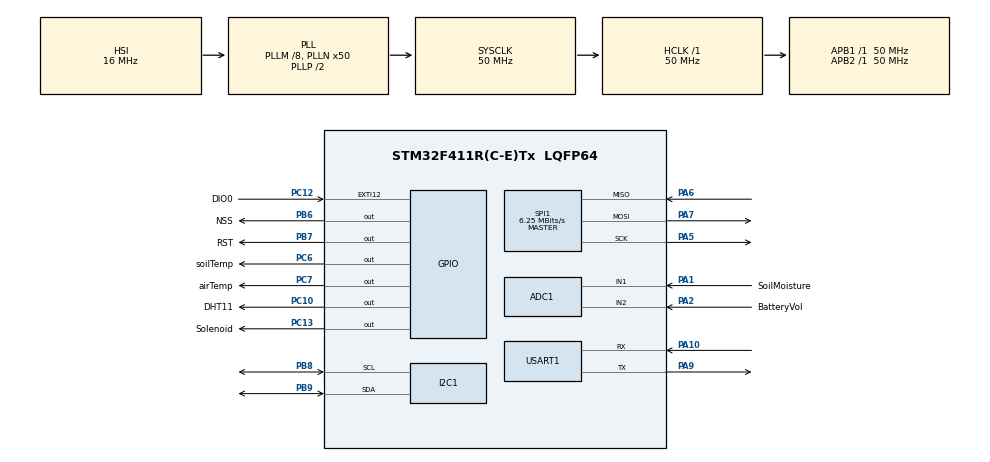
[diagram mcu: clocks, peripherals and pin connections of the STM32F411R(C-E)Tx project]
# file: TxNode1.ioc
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ADC1.Channel-0\#ChannelRegularConversion=ADC_CHANNEL_1
ADC1.Channel-3\#ChannelRegularConversion=ADC_CHANNEL_2
ADC1.ContinuousConvMode=ENABLE
ADC1.NbrOfConversion=2
ADC1.NbrOfConversionFlag=1
ADC1.Rank-3\#ChannelRegularConversion=2
ADC1.SamplingTime-3\#ChannelRegularConversion=ADC_SAMPLETIME_3CYCLES
ADC1.ScanConvMode=ENABLE
ADC1.master=1
FREERTOS.Tasks01=defaultTask,0,128,StartDefaultTask,Default,NULL,Dynamic,NULL,NULL
FREERTOS.configUSE_NEWLIB_REENTRANT=1
Mcu.Family=STM32F4
Mcu.Name=STM32F411R(C-E)Tx
Mcu.Package=LQFP64
NVIC.PriorityGroup=NVIC_PRIORITYGROUP_4
NVIC.TIM5_IRQn=true\:15\:0\:false\:false\:true\:false\:false\:true\:true
NVIC.TimeBase=TIM5_IRQn
NVIC.TimeBaseIP=TIM5
PA1.GPIO_Label=SoilMoisture
PA1.Signal=ADCx_IN1
PA10.Mode=Asynchronous
PA10.Signal=USART1_RX
PA13.Mode=Serial_Wire
PA13.Signal=SYS_JTMS-SWDIO
PA14.Mode=Serial_Wire
PA14.Signal=SYS_JTCK-SWCLK
PA2.GPIO_Label=BatteryVol
PA2.Signal=ADCx_IN2
PA5.Mode=Full_Duplex_Master
PA5.Signal=SPI1_SCK
PA6.Mode=Full_Duplex_Master
PA6.Signal=SPI1_MISO
PA7.Mode=Full_Duplex_Master
PA7.Signal=SPI1_MOSI
PA9.Mode=Asynchronous
PA9.Signal=USART1_TX
PB6.GPIO_Label=NSS
PB6.PinState=GPIO_PIN_SET
PB6.Signal=GPIO_Output
PB7.GPIO_Label=RST
PB7.PinState=GPIO_PIN_SET
PB7.Signal=GPIO_Output
PB8.Mode=I2C
PB8.Signal=I2C1_SCL
PB9.Mode=I2C
PB9.Signal=I2C1_SDA
PC10.GPIO_Label=DHT11
PC10.Signal=GPIO_Output
PC12.GPIO_Label=DIO0
PC12.Signal=GPXTI12
PC13-ANTI_TAMP.GPIO_Label=Solenoid
PC13-ANTI_TAMP.Signal=GPIO_Output
PC14-OSC32_IN.Mode=LSE-External-Oscillator
PC14-OSC32_IN.Signal=RCC_OSC32_IN
PC15-OSC32_OUT.Mode=LSE-External-Oscillator
PC15-OSC32_OUT.Signal=RCC_OSC32_OUT
PC6.GPIO_Label=soilTemp
PC6.Signal=GPIO_Output
PC7.GPIO_Label=airTemp
PC7.Signal=GPIO_Output
PH0\ -\ OSC_IN.Mode=HSE-External-Oscillator
PH0\ -\ OSC_IN.Signal=RCC_OSC_IN
PH1\ -\ OSC_OUT.Mode=HSE-External-Oscillator
PH1\ -\ OSC_OUT.Signal=RCC_OSC_OUT
ProjectManager.HeapSize=0x200
ProjectManager.StackSize=0x400
ProjectManager.TargetToolchain=STM32CubeIDE
RCC.48MHZClocksFreq_Value=25000000
RCC.AHBFreq_Value=50000000
RCC.APB1Freq_Value=50000000
RCC.APB1TimFreq_Value=50000000
RCC.APB2Freq_Value=50000000
RCC.APB2TimFreq_Value=50000000
RCC.CortexFreq_Value=50000000
RCC.HCLKFreq_Value=50000000
RCC.HSE_VALUE=25000000
RCC.HSI_VALUE=16000000
RCC.PLLM=8
RCC.PLLN=50
RCC.SYSCLKFreq_VALUE=50000000
RCC.SYSCLKSource=RCC_SYSCLKSOURCE_PLLCLK
RCC.VCOOutputFreq_Value=100000000
SH.ADCx_IN1.0=ADC1_IN1,IN1
SH.ADCx_IN2.0=ADC1_IN2,IN2
SPI1.BaudRatePrescaler=SPI_BAUDRATEPRESCALER_8
SPI1.CalculateBaudRate=6.25 MBits/s
SPI1.Direction=SPI_DIRECTION_2LINES
SPI1.Mode=SPI_MODE_MASTER
SPI1.VirtualType=VM_MASTER
TIM1.Period=0xffff-1
TIM1.Prescaler=50-1
USART1.VirtualMode=VM_ASYNC
VP_FREERTOS_VS_CMSIS_V1.Mode=CMSIS_V1
VP_SYS_VS_tim5.Mode=TIM5
VP_TIM1_VS_ClockSourceINT.Mode=Internal
board=custom

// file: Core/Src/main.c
/* USER CODE BEGIN Header */
/**
  ******************************************************************************
  * @file           : main.c
  * @brief          : Main program body
  ******************************************************************************
  * @attention
  *
  * Copyright (c) 2022 STMicroelectronics.
  * All rights reserved.
  *
  * This software is licensed under terms that can be found in the LICENSE file
  * in the root directory of this software component.
  * If no LICENSE file comes with this software, it is provided AS-IS.
  *
  ******************************************************************************
  */
/* USER CODE END Header */
#include "main.h"

/* USER CODE BEGIN Includes */
#include "farmTask.h"
#include "LoRa.h"
#include "liquidcrystal_i2c.h"

/* USER CODE END Includes */

ADC_HandleTypeDef hadc1;

I2C_HandleTypeDef hi2c1;

SPI_HandleTypeDef hspi1;

TIM_HandleTypeDef htim1;

UART_HandleTypeDef huart1;

/* USER CODE BEGIN PV */
/************************ SEMAPHORE & QUEUE HANDLER **************************************/
xQueueHandle sensorQHandler;

//SemaphoreHandle_t bin_sem;     // Waits for parameter to be read
//SemaphoreHandle_t mutex;       // Lock access to Serial resource
/************************ TASK HANDLER **************************************/
xTaskHandle loraTaskHandler;
xTaskHandle lcdTaskHandler;

xTaskHandle soilMoistTaskHandler;
xTaskHandle soilTempTaskHandler;
xTaskHandle humidityTaskHandler;
xTaskHandle airTempTaskHandler;
xTaskHandle batteryTaskHandler;

/* USER CODE END PV */

void SystemClock_Config(void);
static void MX_GPIO_Init(void);
static void MX_ADC1_Init(void);
static void MX_I2C1_Init(void);
static void MX_SPI1_Init(void);
static void MX_TIM1_Init(void);
static void MX_USART1_UART_Init(void);

/* USER CODE BEGIN 0 */

/********************** SELECT ADC CHANNELS ********************************************/
void selectADC1()
{
	 ADC_ChannelConfTypeDef sConfig = {0};
	/** Configure for the selected ADC regular channel its corresponding rank in the sequencer and its sample time.
	  */
	  sConfig.Channel = ADC_CHANNEL_1;
	  sConfig.Rank = 1;
	  sConfig.SamplingTime = ADC_SAMPLETIME_3CYCLES;
	  if (HAL_ADC_ConfigChannel(&hadc1, &sConfig) != HAL_OK)
	  {
	    Error_Handler();
	  }
}

void selectADC2()
{
	 ADC_ChannelConfTypeDef sConfig = {0};
	 /** Configure for the selected ADC regular channel its corresponding rank in the sequencer and its sample time.
	  */
	  sConfig.Channel = ADC_CHANNEL_2;
	  sConfig.Rank = 1;
	  sConfig.SamplingTime = ADC_SAMPLETIME_3CYCLES;
	  if (HAL_ADC_ConfigChannel(&hadc1, &sConfig) != HAL_OK)
	  {
	    Error_Handler();
	  }
}

/*********************** SELECT PINS FOR DS18B20 & DHT ************************************/

void Set_Pin_Output (GPIO_TypeDef *GPIOx, uint16_t GPIO_Pin)
{
	GPIO_InitTypeDef GPIO_InitStruct = {0};
	GPIO_InitStruct.Pin = GPIO_Pin;
	GPIO_InitStruct.Mode = GPIO_MODE_OUTPUT_PP;
	GPIO_InitStruct.Speed = GPIO_SPEED_FREQ_LOW;
	HAL_GPIO_Init(GPIOx, &GPIO_InitStruct);
}

void Set_Pin_Input (GPIO_TypeDef *GPIOx, uint16_t GPIO_Pin)
{
	GPIO_InitTypeDef GPIO_InitStruct = {0};
	GPIO_InitStruct.Pin = GPIO_Pin;
	GPIO_InitStruct.Mode = GPIO_MODE_INPUT;
	GPIO_InitStruct.Pull = GPIO_PULLUP;
	HAL_GPIO_Init(GPIOx, &GPIO_InitStruct);
}

/* USER CODE END 0 */

int main(void)
{

  /* MCU Configuration--------------------------------------------------------*/

  /* Reset of all peripherals, Initializes the Flash interface and the Systick. */
   HAL_Init();

  /* Configure the system clock */
  SystemClock_Config();

  /* Initialize all configured peripherals */
  MX_GPIO_Init();
  MX_ADC1_Init();
  MX_I2C1_Init();
  MX_SPI1_Init();
  MX_TIM1_Init();
  MX_USART1_UART_Init();

  /* USER CODE BEGIN 2 */
  lcd_Init(2);
  lcd_Clear();
  lcd_SetCursor(0,0);
  lcd_PrintStr("LCD Initializing...");

  HAL_Delay(700);

  /*********************** CREATE QUEUE *****************************************/

  // Create mutexes and semaphores before starting tasks
//    bin_sem = xSemaphoreCreateBinary();
//    mutex = xSemaphoreCreateMutex();

	#define QueueLength 5				// 5 Tasks

   sensorQHandler = xQueueCreate(QueueLength, sizeof(Sensor));

  /************************ CREATE TASKS ************************************************/

   xTaskCreate(soilMoist_Task,"soilMoist", 128, NULL, 7, &soilMoistTaskHandler);
   xTaskCreate(soilTemp_Task,"soilTemp", 128, NULL, 6, &soilTempTaskHandler);
   xTaskCreate(humidity_Task,"humidity", 128, NULL, 5, &humidityTaskHandler);
   xTaskCreate(airTemp_Task,"airTemp", 128, NULL, 4, &airTempTaskHandler);
   xTaskCreate(battery_Task,"battery", 128, NULL, 3, &batteryTaskHandler);

   xTaskCreate(lora_Task,"LORA", 128, NULL, 2, &loraTaskHandler);
   xTaskCreate(lcd_Task,"LCD", 128, NULL, 1, &lcdTaskHandler);

   vTaskStartScheduler();
  /* USER CODE END 2 */

   /* We should never get here as control is now taken by the scheduler */
  /* Infinite loop */
  while (1)
  {

  }
}

void SystemClock_Config(void)
{
  RCC_OscInitTypeDef RCC_OscInitStruct = {0};
  RCC_ClkInitTypeDef RCC_ClkInitStruct = {0};

  /** Configure the main internal regulator output voltage
  */
  __HAL_RCC_PWR_CLK_ENABLE();
  __HAL_PWR_VOLTAGESCALING_CONFIG(PWR_REGULATOR_VOLTAGE_SCALE1);

  /** Initializes the RCC Oscillators according to the specified parameters
  * in the RCC_OscInitTypeDef structure.
  */
  RCC_OscInitStruct.OscillatorType = RCC_OSCILLATORTYPE_HSI;
  RCC_OscInitStruct.HSIState = RCC_HSI_ON;
  RCC_OscInitStruct.HSICalibrationValue = RCC_HSICALIBRATION_DEFAULT;
  RCC_OscInitStruct.PLL.PLLState = RCC_PLL_ON;
  RCC_OscInitStruct.PLL.PLLSource = RCC_PLLSOURCE_HSI;
  RCC_OscInitStruct.PLL.PLLM = 8;
  RCC_OscInitStruct.PLL.PLLN = 50;
  RCC_OscInitStruct.PLL.PLLP = RCC_PLLP_DIV2;
  RCC_OscInitStruct.PLL.PLLQ = 4;
  if (HAL_RCC_OscConfig(&RCC_OscInitStruct) != HAL_OK)
  {
    Error_Handler();
  }

  /** Initializes the CPU, AHB and APB buses clocks
  */
  RCC_ClkInitStruct.ClockType = RCC_CLOCKTYPE_HCLK|RCC_CLOCKTYPE_SYSCLK
                              |RCC_CLOCKTYPE_PCLK1|RCC_CLOCKTYPE_PCLK2;
  RCC_ClkInitStruct.SYSCLKSource = RCC_SYSCLKSOURCE_PLLCLK;
  RCC_ClkInitStruct.AHBCLKDivider = RCC_SYSCLK_DIV1;
  RCC_ClkInitStruct.APB1CLKDivider = RCC_HCLK_DIV1;
  RCC_ClkInitStruct.APB2CLKDivider = RCC_HCLK_DIV1;

  if (HAL_RCC_ClockConfig(&RCC_ClkInitStruct, FLASH_LATENCY_1) != HAL_OK)
  {
    Error_Handler();
  }
}

static void MX_ADC1_Init(void)
{

 // ADC_ChannelConfTypeDef sConfig = {0};

  /** Configure the global features of the ADC (Clock, Resolution, Data Alignment and number of conversion)
  */
  hadc1.Instance = ADC1;
  hadc1.Init.ClockPrescaler = ADC_CLOCK_SYNC_PCLK_DIV2;
  hadc1.Init.Resolution = ADC_RESOLUTION_12B;
  hadc1.Init.ScanConvMode = ENABLE;
  hadc1.Init.ContinuousConvMode = DISABLE;
  hadc1.Init.DiscontinuousConvMode = DISABLE;
  hadc1.Init.ExternalTrigConvEdge = ADC_EXTERNALTRIGCONVEDGE_NONE;
  hadc1.Init.ExternalTrigConv = ADC_SOFTWARE_START;
  hadc1.Init.DataAlign = ADC_DATAALIGN_RIGHT;
  hadc1.Init.NbrOfConversion = 1;
  hadc1.Init.DMAContinuousRequests = DISABLE;
  hadc1.Init.EOCSelection = ADC_EOC_SINGLE_CONV;
  if (HAL_ADC_Init(&hadc1) != HAL_OK)
  {
    Error_Handler();
  }

}

static void MX_I2C1_Init(void)
{

  hi2c1.Instance = I2C1;
  hi2c1.Init.ClockSpeed = 100000;
  hi2c1.Init.DutyCycle = I2C_DUTYCYCLE_2;
  hi2c1.Init.OwnAddress1 = 0;
  hi2c1.Init.AddressingMode = I2C_ADDRESSINGMODE_7BIT;
  hi2c1.Init.DualAddressMode = I2C_DUALADDRESS_DISABLE;
  hi2c1.Init.OwnAddress2 = 0;
  hi2c1.Init.GeneralCallMode = I2C_GENERALCALL_DISABLE;
  hi2c1.Init.NoStretchMode = I2C_NOSTRETCH_DISABLE;
  if (HAL_I2C_Init(&hi2c1) != HAL_OK)
  {
    Error_Handler();
  }

}

static void MX_SPI1_Init(void)
{

  /* SPI1 parameter configuration*/
  hspi1.Instance = SPI1;
  hspi1.Init.Mode = SPI_MODE_MASTER;
  hspi1.Init.Direction = SPI_DIRECTION_2LINES;
  hspi1.Init.DataSize = SPI_DATASIZE_8BIT;
  hspi1.Init.CLKPolarity = SPI_POLARITY_LOW;
  hspi1.Init.CLKPhase = SPI_PHASE_1EDGE;
  hspi1.Init.NSS = SPI_NSS_SOFT;
  hspi1.Init.BaudRatePrescaler = SPI_BAUDRATEPRESCALER_8;
  hspi1.Init.FirstBit = SPI_FIRSTBIT_MSB;
  hspi1.Init.TIMode = SPI_TIMODE_DISABLE;
  hspi1.Init.CRCCalculation = SPI_CRCCALCULATION_DISABLE;
  hspi1.Init.CRCPolynomial = 10;
  if (HAL_SPI_Init(&hspi1) != HAL_OK)
  {
    Error_Handler();
  }

}

static void MX_TIM1_Init(void)
{

  TIM_ClockConfigTypeDef sClockSourceConfig = {0};
  TIM_MasterConfigTypeDef sMasterConfig = {0};

  htim1.Instance = TIM1;
  htim1.Init.Prescaler = 50-1;
  htim1.Init.CounterMode = TIM_COUNTERMODE_UP;
  htim1.Init.Period = 0xffff-1;
  htim1.Init.ClockDivision = TIM_CLOCKDIVISION_DIV1;
  htim1.Init.RepetitionCounter = 0;
  htim1.Init.AutoReloadPreload = TIM_AUTORELOAD_PRELOAD_DISABLE;
  if (HAL_TIM_Base_Init(&htim1) != HAL_OK)
  {
    Error_Handler();
  }
  sClockSourceConfig.ClockSource = TIM_CLOCKSOURCE_INTERNAL;
  if (HAL_TIM_ConfigClockSource(&htim1, &sClockSourceConfig) != HAL_OK)
  {
    Error_Handler();
  }
  sMasterConfig.MasterOutputTrigger = TIM_TRGO_RESET;
  sMasterConfig.MasterSlaveMode = TIM_MASTERSLAVEMODE_DISABLE;
  if (HAL_TIMEx_MasterConfigSynchronization(&htim1, &sMasterConfig) != HAL_OK)
  {
    Error_Handler();
  }

}

static void MX_USART1_UART_Init(void)
{

  huart1.Instance = USART1;
  huart1.Init.BaudRate = 115200;
  huart1.Init.WordLength = UART_WORDLENGTH_8B;
  huart1.Init.StopBits = UART_STOPBITS_1;
  huart1.Init.Parity = UART_PARITY_NONE;
  huart1.Init.Mode = UART_MODE_TX_RX;
  huart1.Init.HwFlowCtl = UART_HWCONTROL_NONE;
  huart1.Init.OverSampling = UART_OVERSAMPLING_16;
  if (HAL_UART_Init(&huart1) != HAL_OK)
  {
    Error_Handler();
  }

}

static void MX_GPIO_Init(void)
{
  GPIO_InitTypeDef GPIO_InitStruct = {0};

  /* GPIO Ports Clock Enable */
  __HAL_RCC_GPIOC_CLK_ENABLE();
  __HAL_RCC_GPIOH_CLK_ENABLE();
  __HAL_RCC_GPIOA_CLK_ENABLE();
  __HAL_RCC_GPIOB_CLK_ENABLE();

  /*Configure GPIO pin Output Level */
  HAL_GPIO_WritePin(GPIOC, Solenoid_Pin|soilTemp_Pin|airTemp_Pin|DHT11_Pin, GPIO_PIN_RESET);

  /*Configure GPIO pin Output Level */
  HAL_GPIO_WritePin(GPIOB, NSS_Pin|RST_Pin, GPIO_PIN_SET);

  /*Configure GPIO pins : Solenoid_Pin soilTemp_Pin airTemp_Pin DHT11_Pin */
  GPIO_InitStruct.Pin = Solenoid_Pin|soilTemp_Pin|airTemp_Pin|DHT11_Pin;
  GPIO_InitStruct.Mode = GPIO_MODE_OUTPUT_PP;
  GPIO_InitStruct.Pull = GPIO_NOPULL;
  GPIO_InitStruct.Speed = GPIO_SPEED_FREQ_LOW;
  HAL_GPIO_Init(GPIOC, &GPIO_InitStruct);

  /*Configure GPIO pin : DIO0_Pin */
  GPIO_InitStruct.Pin = DIO0_Pin;
  GPIO_InitStruct.Mode = GPIO_MODE_IT_RISING;
  GPIO_InitStruct.Pull = GPIO_NOPULL;
  HAL_GPIO_Init(DIO0_GPIO_Port, &GPIO_InitStruct);

  /*Configure GPIO pins : NSS_Pin RST_Pin */
  GPIO_InitStruct.Pin = NSS_Pin|RST_Pin;
  GPIO_InitStruct.Mode = GPIO_MODE_OUTPUT_PP;
  GPIO_InitStruct.Pull = GPIO_NOPULL;
  GPIO_InitStruct.Speed = GPIO_SPEED_FREQ_LOW;
  HAL_GPIO_Init(GPIOB, &GPIO_InitStruct);

}

void HAL_TIM_PeriodElapsedCallback(TIM_HandleTypeDef *htim)
{
  if (htim->Instance == TIM5) {
    HAL_IncTick();
  }
}

void Error_Handler(void)
{
  __disable_irq();
  while (1)
  {
  }
}
